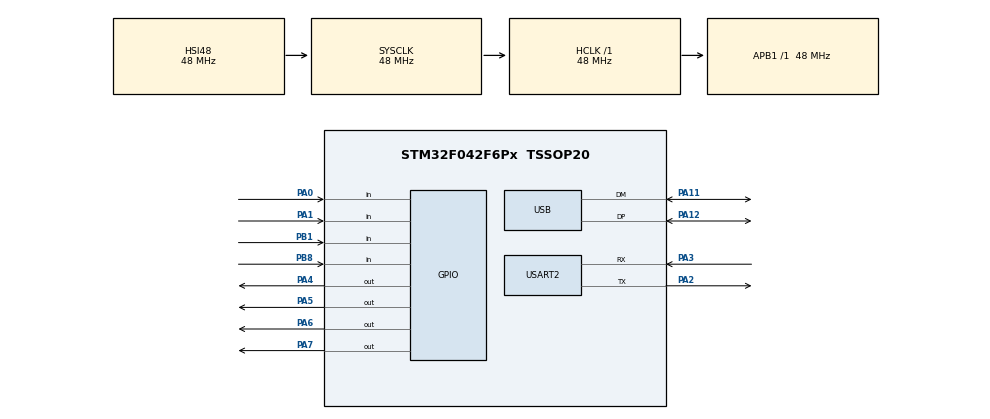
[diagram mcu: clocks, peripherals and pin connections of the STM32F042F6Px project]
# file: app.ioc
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Dma.MEMTOMEM.1.Direction=DMA_MEMORY_TO_MEMORY
Dma.MEMTOMEM.1.Instance=DMA1_Channel1
Dma.MEMTOMEM.1.MemDataAlignment=DMA_MDATAALIGN_BYTE
Dma.MEMTOMEM.1.MemInc=DMA_MINC_ENABLE
Dma.MEMTOMEM.1.Mode=DMA_NORMAL
Dma.MEMTOMEM.1.PeriphDataAlignment=DMA_PDATAALIGN_BYTE
Dma.MEMTOMEM.1.PeriphInc=DMA_PINC_ENABLE
Dma.MEMTOMEM.1.Priority=DMA_PRIORITY_LOW
Dma.MEMTOMEM.2.Direction=DMA_MEMORY_TO_MEMORY
Dma.MEMTOMEM.2.Instance=DMA1_Channel2
Dma.MEMTOMEM.2.MemDataAlignment=DMA_MDATAALIGN_BYTE
Dma.MEMTOMEM.2.MemInc=DMA_MINC_ENABLE
Dma.MEMTOMEM.2.Mode=DMA_NORMAL
Dma.MEMTOMEM.2.PeriphDataAlignment=DMA_PDATAALIGN_BYTE
Dma.MEMTOMEM.2.PeriphInc=DMA_PINC_ENABLE
Dma.MEMTOMEM.2.Priority=DMA_PRIORITY_LOW
Dma.Request0=USART2_RX
Dma.Request1=MEMTOMEM
Dma.Request2=MEMTOMEM
Dma.USART2_RX.0.Direction=DMA_PERIPH_TO_MEMORY
Dma.USART2_RX.0.Instance=DMA1_Channel5
Dma.USART2_RX.0.MemDataAlignment=DMA_MDATAALIGN_BYTE
Dma.USART2_RX.0.MemInc=DMA_MINC_ENABLE
Dma.USART2_RX.0.Mode=DMA_NORMAL
Dma.USART2_RX.0.PeriphDataAlignment=DMA_PDATAALIGN_BYTE
Dma.USART2_RX.0.PeriphInc=DMA_PINC_DISABLE
Dma.USART2_RX.0.Priority=DMA_PRIORITY_LOW
Mcu.Family=STM32F0
Mcu.Name=STM32F042F6Px
Mcu.Package=TSSOP20
NVIC.DMA1_Channel1_IRQn=true\:0\:0\:false\:false\:true\:true\:true\:true
NVIC.DMA1_Channel4_5_IRQn=true\:0\:0\:false\:false\:true\:false\:true\:true
NVIC.TIM3_IRQn=true\:0\:0\:false\:false\:true\:true\:true\:true
NVIC.USB_IRQn=true\:0\:0\:false\:false\:true\:false\:true\:true
PA0.Signal=GPIO_Input
PA1.Signal=GPIO_Input
PA11.Mode=Device
PA11.Signal=USB_DM
PA12.Mode=Device
PA12.Signal=USB_DP
PA13.Mode=Serial_Wire
PA13.Signal=SYS_SWDIO
PA14.Mode=Serial_Wire
PA14.Signal=SYS_SWCLK
PA2.Mode=Asynchronous
PA2.Signal=USART2_TX
PA3.Mode=Asynchronous
PA3.Signal=USART2_RX
PA4.Signal=GPIO_Output
PA5.Signal=GPIO_Output
PA6.Signal=GPIO_Output
PA7.Signal=GPIO_Output
PB1.Signal=GPIO_Input
PB8.Signal=GPIO_Input
ProjectManager.HeapSize=0x200
ProjectManager.StackSize=0x400
ProjectManager.TargetToolchain=STM32CubeIDE
RCC.AHBFreq_Value=48000000
RCC.APB1Freq_Value=48000000
RCC.APB1TimFreq_Value=48000000
RCC.HCLKFreq_Value=48000000
RCC.SYSCLKFreq_VALUE=48000000
RCC.SYSCLKSource=RCC_SYSCLKSOURCE_HSI48
RCC.USBFreq_Value=48000000
TIM3.AutoReloadPreload=TIM_AUTORELOAD_PRELOAD_ENABLE
TIM3.Period=48000
TIM3.Prescaler=50
USART2.VirtualMode-Asynchronous=VM_ASYNC
USB_DEVICE.APP_RX_DATA_SIZE=64
USB_DEVICE.APP_TX_DATA_SIZE=64
USB_DEVICE.CLASS_NAME_FS=CDC
USB_DEVICE.MANUFACTURER_STRING=OtterMeow
USB_DEVICE.PID_CDC_FS=0x7523
USB_DEVICE.PRODUCT_STRING_CDC_FS=CH340 PPPC USB HUB
USB_DEVICE.USBD_MAX_NUM_INTERFACES=1
USB_DEVICE.USBD_MAX_STR_DESC_SIZ=64
USB_DEVICE.VID=0x1a86
USB_DEVICE.VirtualMode=Cdc
USB_DEVICE.VirtualModeFS=Cdc_FS
VP_SYS_VS_PINREMAP.Mode=PINREMAP
VP_TIM3_VS_ClockSourceINT.Mode=Internal
VP_USB_DEVICE_VS_USB_DEVICE_CDC_FS.Mode=CDC_FS
board=custom

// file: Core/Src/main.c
/* USER CODE BEGIN Header */
/**
 ******************************************************************************
 * @file           : main.c
 * @brief          : Main program body
 ******************************************************************************
 * @attention
 *
 * Copyright (c) 2024 STMicroelectronics.
 * All rights reserved.
 *
 * This software is licensed under terms that can be found in the LICENSE file
 * in the root directory of this software component.
 * If no LICENSE file comes with this software, it is provided AS-IS.
 *
 ******************************************************************************
 */
/* USER CODE END Header */
#include "main.h"
#include "dma.h"
#include "tim.h"
#include "usart.h"
#include "usb_device.h"
#include "gpio.h"

/* USER CODE BEGIN Includes */
#include "usbd_cdc_if.h"
/* USER CODE END Includes */

/* USER CODE BEGIN PTD */

typedef struct PortSettings {
	uint8_t defaultState :1;
	uint8_t groupControl :1;
	uint8_t polarity :1;
	uint8_t reserved :5;
} __attribute__((packed)) PortSettings_t;

typedef struct DeviceSettings {
	PortSettings_t usb1;
	PortSettings_t usb2;
	PortSettings_t usb3;
	PortSettings_t relay;
} __attribute__((packed)) DeviceSettings_t;

typedef struct Command {
	union{
		uint32_t raw;
		struct{
			uint8_t header;
			uint8_t addr;
			uint8_t state;
			uint8_t checksum;
		};
	};

} __attribute__((packed)) Command_t;

typedef struct CommandExtended {
	Command_t command;
	DeviceSettings_t settings;
	uint8_t checksum;
} __attribute__((packed)) CommandExtended_t;
/* USER CODE END PTD */

/* USER CODE BEGIN PV */
extern TIM_HandleTypeDef htim3;
uint8_t cdcRxBuf[64] = { 0 };
uint8_t cdcTxBuf[8] = { 0 };
uint8_t rxLen = 0;
volatile uint8_t rxDone = 0;
uint8_t portCtrlState = 0;
uint8_t portCtrlFlag = 0x00;

__attribute__((section(".persist_data"))) DeviceSettings_t Settings = {
		.usb1 =		{ .defaultState = 1, .groupControl = 1, .polarity = 1 },
		.usb2 = 	{ .defaultState = 1, .groupControl = 1, .polarity = 1 },
		.usb3 = 	{ .defaultState = 1, .groupControl = 1, .polarity = 1 },
		.relay = 	{ .defaultState = 0, .groupControl = 1, .polarity = 0 },
};
/* USER CODE END PV */

void SystemClock_Config(void);
/* USER CODE BEGIN PFP */
extern void FLASH_PageErase(uint32_t PageAddress);
void Initialize_Ports();
void Enable_All_Ports();
void Disable_All_Ports();
uint8_t Calculate_Checksum(void* data, uint8_t len);
void Process_Rx();
uint8_t Save_Settings(DeviceSettings_t* newSettings);
/* USER CODE END PFP */

int main(void)
{

  /* MCU Configuration--------------------------------------------------------*/

  /* Reset of all peripherals, Initializes the Flash interface and the Systick. */
  HAL_Init();

  /* Configure the system clock */
  SystemClock_Config();

  /* Initialize all configured peripherals */
  MX_GPIO_Init();
  MX_DMA_Init();
  MX_USART2_UART_Init();
  MX_USB_DEVICE_Init();
  MX_TIM3_Init();
  /* USER CODE BEGIN 2 */
  HAL_TIM_Base_Start_IT(&htim3);
  Initialize_Ports();
  /* USER CODE END 2 */

  /* Infinite loop */
  /* USER CODE BEGIN WHILE */

	while (1) {
		if(rxDone){
			Process_Rx();
		}

    /* USER CODE END WHILE */

	}
}

void SystemClock_Config(void)
{
  RCC_OscInitTypeDef RCC_OscInitStruct = {0};
  RCC_ClkInitTypeDef RCC_ClkInitStruct = {0};
  RCC_PeriphCLKInitTypeDef PeriphClkInit = {0};

  /** Initializes the RCC Oscillators according to the specified parameters
  * in the RCC_OscInitTypeDef structure.
  */
  RCC_OscInitStruct.OscillatorType = RCC_OSCILLATORTYPE_HSI48;
  RCC_OscInitStruct.HSI48State = RCC_HSI48_ON;
  RCC_OscInitStruct.PLL.PLLState = RCC_PLL_NONE;
  if (HAL_RCC_OscConfig(&RCC_OscInitStruct) != HAL_OK)
  {
    Error_Handler();
  }

  /** Initializes the CPU, AHB and APB buses clocks
  */
  RCC_ClkInitStruct.ClockType = RCC_CLOCKTYPE_HCLK|RCC_CLOCKTYPE_SYSCLK
                              |RCC_CLOCKTYPE_PCLK1;
  RCC_ClkInitStruct.SYSCLKSource = RCC_SYSCLKSOURCE_HSI48;
  RCC_ClkInitStruct.AHBCLKDivider = RCC_SYSCLK_DIV1;
  RCC_ClkInitStruct.APB1CLKDivider = RCC_HCLK_DIV1;

  if (HAL_RCC_ClockConfig(&RCC_ClkInitStruct, FLASH_LATENCY_1) != HAL_OK)
  {
    Error_Handler();
  }
  PeriphClkInit.PeriphClockSelection = RCC_PERIPHCLK_USB;
  PeriphClkInit.UsbClockSelection = RCC_USBCLKSOURCE_HSI48;

  if (HAL_RCCEx_PeriphCLKConfig(&PeriphClkInit) != HAL_OK)
  {
    Error_Handler();
  }
}

/* USER CODE BEGIN 4 */

void Initialize_Ports()
{
	portCtrlFlag = 0xF1;
	portCtrlState = 0x01;
}

void Enable_All_Ports() {

	portCtrlFlag = 0x11;
	portCtrlState = 0x01;
}

void Disable_All_Ports() {

	portCtrlFlag = 0x01;
	portCtrlState = 0x00;
}

void Port_Ctrl_Handler() {
	static uint8_t cooldown = 0;

	if (HAL_GPIO_ReadPin(GPIOB, GPIO_PIN_8) && (cooldown == 0)) {
		if (portCtrlState) {
			Disable_All_Ports();
		} else {
			Enable_All_Ports();
		}
		cooldown = 10;
	}

	switch (portCtrlFlag) {
	case 0x01:
		if(Settings.usb1.groupControl){
			HAL_GPIO_WritePin(GPIOA, USB1_EN_PIN, ~Settings.usb1.polarity & 0x1);
		}
		portCtrlFlag += 1;
		break;
	case 0x02:
		if(Settings.usb2.groupControl){
			HAL_GPIO_WritePin(GPIOA, USB2_EN_PIN, ~Settings.usb2.polarity & 0x1);
		}
		portCtrlFlag += 1;
		break;
	case 0x03:
		if(Settings.usb3.groupControl){
			HAL_GPIO_WritePin(GPIOA, USB3_EN_PIN, ~Settings.usb3.polarity & 0x1);
		}
		portCtrlFlag += 1;
		break;
	case 0x04:
		if(Settings.relay.groupControl){
			HAL_GPIO_WritePin(GPIOA, RELAY_EN_PIN, ~Settings.relay.polarity & 0x1);
		}
		portCtrlFlag = 0x00;
		break;
	case 0x11:
		if(Settings.usb1.groupControl){
			HAL_GPIO_WritePin(GPIOA, USB1_EN_PIN, Settings.usb1.polarity & 0x1);
		}
		portCtrlFlag += 1;
		break;
	case 0x12:
		if(Settings.usb2.groupControl){
			HAL_GPIO_WritePin(GPIOA, USB2_EN_PIN, Settings.usb2.polarity & 0x1);
		}
		portCtrlFlag += 1;
		break;
	case 0x13:
		if(Settings.usb3.groupControl){
			HAL_GPIO_WritePin(GPIOA, USB3_EN_PIN, Settings.usb3.polarity & 0x1);
		}
		portCtrlFlag += 1;
		break;
	case 0x14:
		if(Settings.relay.groupControl){
			HAL_GPIO_WritePin(GPIOA, RELAY_EN_PIN, Settings.relay.polarity & 0x1);
		}
		portCtrlFlag = 0x00;
		break;
	case 0xF1:
		HAL_GPIO_WritePin(GPIOA, USB1_EN_PIN, Settings.usb1.defaultState);
		portCtrlFlag += 1;
		break;
	case 0xF2:
		HAL_GPIO_WritePin(GPIOA, USB2_EN_PIN, Settings.usb2.defaultState);
		portCtrlFlag += 1;
		break;
	case 0xF3:
		HAL_GPIO_WritePin(GPIOA, USB3_EN_PIN, Settings.usb3.defaultState);
		portCtrlFlag += 1;
		break;
	case 0xF4:
		HAL_GPIO_WritePin(GPIOA, RELAY_EN_PIN, Settings.relay.defaultState);
		portCtrlFlag = 0x00;
		break;
	default:
		portCtrlFlag = 0x00;
		break;
	}

	cooldown -= cooldown ? 1 : 0;
}

void Process_Rx()
{
	Command_t *cmd;
	CommandExtended_t *cmdExt;

	cmd = (Command_t*)cdcRxBuf;

	if(cmd->checksum == Calculate_Checksum(cmd, sizeof(*cmd)-1))
	{
		switch(cmd->raw){
		case 0xA20101A0:
			Disable_All_Ports();
			break;
		case 0xA10001A0:
			Enable_All_Ports();
			break;
		case 0x67EFCDAB:
			cmdExt = (CommandExtended_t*)cdcRxBuf;

			if(cmdExt->checksum == Calculate_Checksum(cmdExt, sizeof(*cmdExt)-1))
			{
				uint8_t result = Save_Settings(&cmdExt->settings);

				if(result)
				{
					CDC_Transmit_FS("SUCCESS\n", 8);
				}else
				{
					CDC_Transmit_FS("FAILED\n", 7);
				}
				break;
			}
			break;
		case 0xFDFFFFFF:
			cdcTxBuf[0] = HAL_GPIO_ReadPin(GPIOA, RELAY_EN_PIN);
			cdcTxBuf[0] <<= 1;
			cdcTxBuf[0] |= HAL_GPIO_ReadPin(GPIOA, USB3_EN_PIN);
			cdcTxBuf[0] <<= 1;
			cdcTxBuf[0] |= HAL_GPIO_ReadPin(GPIOA, USB2_EN_PIN);
			cdcTxBuf[0] <<= 1;
			cdcTxBuf[0] |= HAL_GPIO_ReadPin(GPIOA, USB1_EN_PIN);

			memcpy(cdcTxBuf+1,&Settings,sizeof(Settings));

			CDC_Transmit_FS(cdcTxBuf, sizeof(Settings)+1);
			break;
		default:
			if(cmd->header == 0xF0)
			{
				switch(cmd->addr){
				case 0x01:
					HAL_GPIO_WritePin(GPIOA, USB1_EN_PIN, cmd->state & 0x1);
					break;
				case 0x02:
					HAL_GPIO_WritePin(GPIOA, USB2_EN_PIN, cmd->state & 0x1);
					break;
				case 0x03:
					HAL_GPIO_WritePin(GPIOA, USB3_EN_PIN, cmd->state & 0x1);
					break;
				case 0x04:
					HAL_GPIO_WritePin(GPIOA, RELAY_EN_PIN, cmd->state & 0x1);
					break;
				default:
					break;
				}
			}
			break;
		}
	}

	memset(cdcRxBuf, 0, 64);
	rxDone = 0;
}

uint8_t Calculate_Checksum(void* data, uint8_t len){
	uint8_t i = 0;
	uint8_t sum = 0;

	do
	{
		sum += ((uint8_t*)data)[i];
		i++;
	}while(i<len);

	return sum;
}

uint8_t Save_Settings(DeviceSettings_t* newSettings){
	static FLASH_EraseInitTypeDef EraseInitStruct;
	uint32_t PAGEError;
	HAL_StatusTypeDef status = HAL_OK;

	EraseInitStruct.TypeErase   = FLASH_TYPEERASE_PAGES;
    EraseInitStruct.PageAddress = (uint32_t)&Settings;
    EraseInitStruct.NbPages    	= 1;

	HAL_FLASH_Unlock();
	status = HAL_FLASHEx_Erase(&EraseInitStruct, &PAGEError);

	if(status != HAL_OK)
	{
		HAL_FLASH_Lock();
		return 0;
	}
	status = HAL_FLASH_Program(FLASH_TYPEPROGRAM_WORD, (uint32_t)&Settings, *((uint32_t*)newSettings));

	if(status != HAL_OK)
	{
		HAL_FLASH_Lock();
		return 0;
	}

	HAL_FLASH_Lock();

	return 1;
}

/* USER CODE END 4 */

void Error_Handler(void)
{
	__disable_irq();
	while (1) {
	}
}
